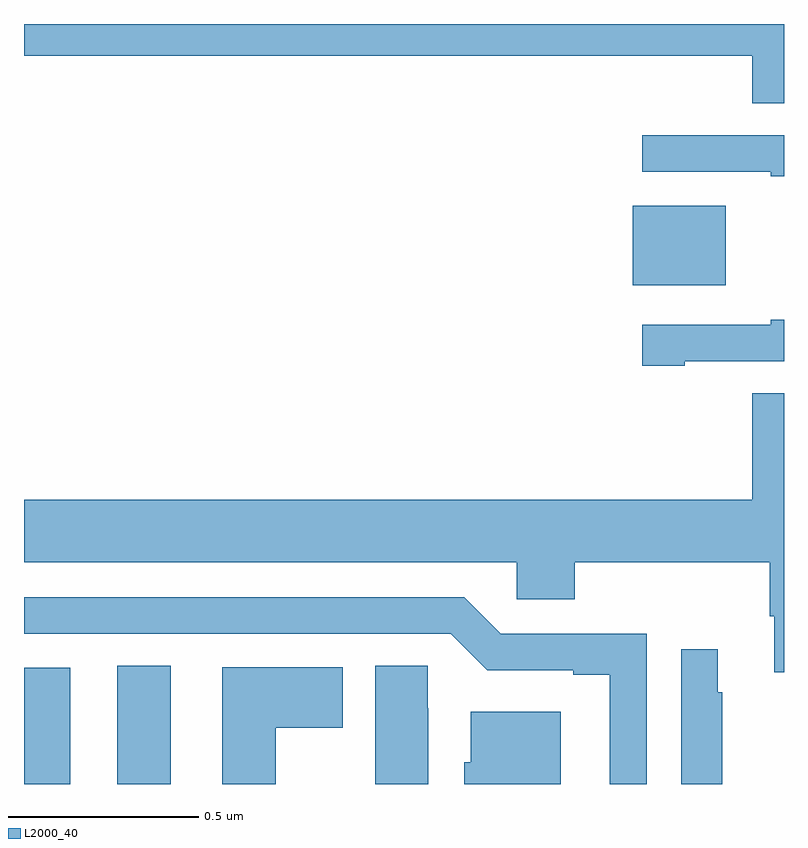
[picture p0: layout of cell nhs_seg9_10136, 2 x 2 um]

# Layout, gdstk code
import gdstk
lib = gdstk.Library(unit=1e-6, precision=1e-09)
def R(c, l, rs):  # rectangles x0, y0, x1, y1
    for r in rs: c.add(gdstk.rectangle(r[:2], r[2:], *l))
def P(c, l, *ps):  # polygons
    for p in ps: c.add(gdstk.Polygon(p, *l))
L2000_40 = (2000, 40)

nhs_seg9_10136 = lib.new_cell('nhs_seg9_10136')
R(nhs_seg9_10136, L2000_40, [(239,1198.5,239.122,1198.806), (239.246,1198.5,239.386,1198.811), (240.602,1199.813,240.847,1200.022)])
P(nhs_seg9_10136, L2000_40, [(241,1200.5),(239,1200.5),(239,1200.416),(240.917,1200.416),(240.917,1200.292),(241,1200.292)],
  [(241,1200.207),(240.627,1200.207),(240.627,1200.111),(240.965,1200.111),(240.965,1200.099),(241,1200.099)],
  [(240.739,1199.613),(241,1199.613),(241,1199.722),(240.965,1199.722),(240.965,1199.709),(240.627,1199.709),(240.627,1199.601),(240.739,1199.601)],
  [(241,1199.528),(240.917,1199.528),(240.917,1199.248),(239,1199.248),(239,1199.084),(240.297,1199.084),(240.297,1198.986),(240.449,1198.986),(240.449,1199.084),(240.962,1199.084),(240.962,1198.942),(240.974,1198.942),(240.974,1198.794),(241,1198.794)],
  [(240.639,1198.896),(240.255,1198.896),(240.159,1198.992),(239,1198.992),(239,1198.896),(240.123,1198.896),(240.219,1198.8),(240.446,1198.8),(240.446,1198.788),(240.542,1198.788),(240.542,1198.5),(240.639,1198.5)],
  [(240.838,1198.742),(240.826,1198.742),(240.826,1198.855),(240.729,1198.855),(240.729,1198.5),(240.838,1198.5)],
  [(240.064,1198.7),(240.063,1198.7),(240.063,1198.811),(239.924,1198.811),(239.924,1198.5),(240.064,1198.5)],
  [(239.662,1198.648),(239.839,1198.648),(239.839,1198.807),(239.522,1198.807),(239.522,1198.5),(239.662,1198.5)],
  [(240.412,1198.69),(240.176,1198.69),(240.176,1198.557),(240.158,1198.557),(240.158,1198.5),(240.412,1198.5)])

lib.write_gds('nhs_seg9_10136.gds')
